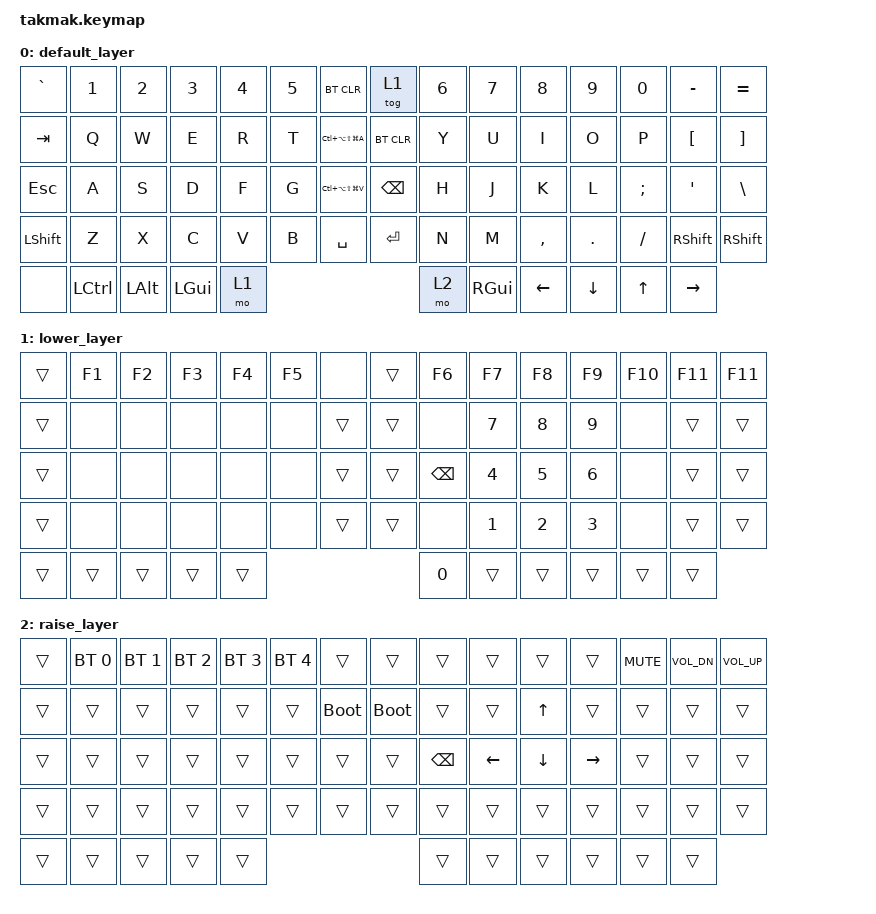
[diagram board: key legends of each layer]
/*
 * Copyright (c) 2020 The ZMK Contributors
 *
 * SPDX-License-Identifier: MIT
 */

#include <behaviors.dtsi>
#include <dt-bindings/zmk/keys.h>
#include <dt-bindings/zmk/bt.h>

/ {
        keymap {
                compatible = "zmk,keymap";

                default_layer {
                        bindings = <
   &kp GRAVE &kp N1    &kp N2   &kp N3   &kp N4    &kp N5 &bt BT_CLR                     &tog 1 &kp N6 &kp N7    &kp N8    &kp N9   &kp N0   &kp MINUS  &kp EQUAL
   &kp TAB   &kp Q     &kp W    &kp E    &kp R     &kp T  &kp LC(LA(LS(LG(A))))      &bt BT_CLR &kp Y  &kp U     &kp I     &kp O    &kp P    &kp LBKT   &kp RBKT
   &kp ESC   &kp A     &kp S    &kp D    &kp F     &kp G  &kp LC(LA(LS(LG(V))))      &kp BSPC   &kp H  &kp J     &kp K     &kp L    &kp SEMI &kp SQT    &kp BSLH
   &kp LSHFT &kp Z     &kp X    &kp C    &kp V     &kp B  &kp SPACE                  &kp RET    &kp N  &kp M     &kp COMMA &kp DOT  &kp FSLH &kp RSHIFT &kp RSHIFT
   &none     &kp LCTRL &kp LALT &kp LGUI &mo 1                                                  &mo 2  &kp RGUI  &kp LEFT  &kp DOWN &kp UP   &kp RIGHT
                        >;
                };
                lower_layer {
                        bindings = <
   &trans &kp F1 &kp F2 &kp F3 &kp F4 &kp F5 &none      &trans &kp F6   &kp F7 &kp F8 &kp F9 &kp F10 &kp F11 &kp F11
   &trans &none &none &none &none &none &trans          &trans &none    &kp N7 &kp N8 &kp N9 &none  &trans &trans
   &trans &none &none &none &none &none &trans          &trans &kp BSPC &kp N4 &kp N5 &kp N6 &none  &trans &trans
   &trans &none &none &none &none &none &trans          &trans &none    &kp N1 &kp N2 &kp N3 &none  &trans &trans
   &trans &trans &trans &trans &trans                                   &kp N0 &trans &trans &trans &trans &trans
                        >;
                };

                raise_layer {
                        bindings = <
   &trans &bt BT_SEL 0 &bt BT_SEL 1 &bt BT_SEL 2 &bt BT_SEL 3 &bt BT_SEL 4 &trans           &trans &trans &trans   &trans   &trans    &kp K_MUTE &kp C_VOL_DN &kp C_VOL_UP
   &trans &trans       &trans       &trans       &trans       &trans       &bootloader      &bootloader &trans &trans   &kp UP   &trans    &trans &trans &trans
   &trans &trans       &trans       &trans       &trans       &trans       &trans           &trans &kp BSPC &kp LEFT &kp DOWN &kp RIGHT &trans &trans &trans
   &trans &trans       &trans       &trans       &trans       &trans       &trans           &trans &trans &trans   &trans   &trans    &trans &trans &trans
   &trans &trans       &trans       &trans       &trans                                     &trans   &trans   &trans    &trans &trans &trans                        
                        >;
                };
        };
};
